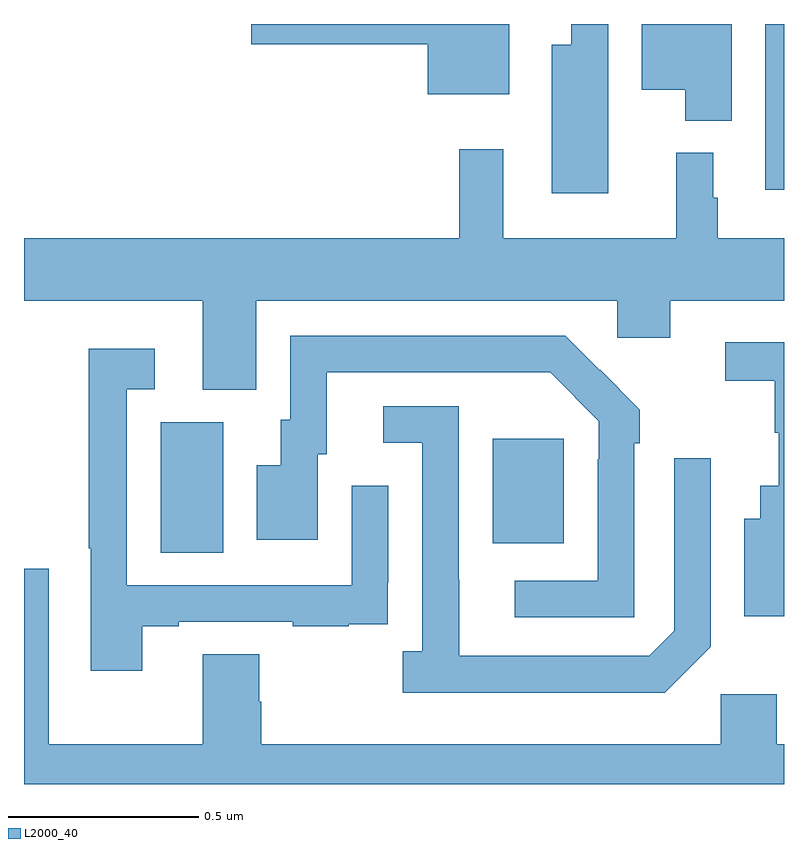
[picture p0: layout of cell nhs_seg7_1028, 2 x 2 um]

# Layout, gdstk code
import gdstk
lib = gdstk.Library(unit=1e-6, precision=1e-09)
def R(c, l, rs):  # rectangles x0, y0, x1, y1
    for r in rs: c.add(gdstk.rectangle(r[:2], r[2:], *l))
def P(c, l, *ps):  # polygons
    for p in ps: c.add(gdstk.Polygon(p, *l))
L2000_40 = (2000, 40)

nhs_seg7_1028 = lib.new_cell('nhs_seg7_1028')
R(nhs_seg7_1028, L2000_40, [(125.36,1010.608,125.524,1010.952), (126.233,1010.633,126.421,1010.908), (126.951,1011.564,127,1012)])
P(nhs_seg7_1028, L2000_40, [(126.277,1012),(125.598,1012),(125.598,1011.947),(126.062,1011.947),(126.062,1011.815),(126.277,1011.815)],
  [(126.862,1012),(126.626,1012),(126.626,1011.827),(126.74,1011.827),(126.74,1011.746),(126.862,1011.746)],
  [(126.538,1012),(126.44,1012),(126.44,1011.946),(126.389,1011.946),(126.389,1011.554),(126.538,1011.554)],
  [(125.611,1011.272),(126.561,1011.272),(126.561,1011.174),(126.7,1011.174),(126.7,1011.272),(127,1011.272),(127,1011.436),(126.826,1011.436),(126.826,1011.543),(126.814,1011.543),(126.814,1011.661),(126.716,1011.661),(126.716,1011.436),(126.261,1011.436),(126.261,1011.67),(126.145,1011.67),(126.145,1011.436),(125,1011.436),(125,1011.272),(125.471,1011.272),(125.471,1011.037),(125.611,1011.037)],
  [(126.606,1010.897),(126.621,1010.897),(126.621,1010.985),(126.516,1011.09),(126.515,1011.089),(126.424,1011.18),(125.7,1011.18),(125.7,1010.958),(125.675,1010.958),(125.675,1010.839),(125.612,1010.839),(125.612,1010.643),(125.773,1010.643),(125.773,1010.868),(125.797,1010.868),(125.797,1011.084),(126.385,1011.084),(126.513,1010.955),(126.513,1010.855),(126.51,1010.855),(126.51,1010.535),(126.291,1010.535),(126.291,1010.439),(126.606,1010.439)],
  [(127,1011.162),(126.846,1011.162),(126.846,1011.061),(126.975,1011.061),(126.975,1010.925),(126.986,1010.925),(126.986,1010.785),(126.938,1010.785),(126.938,1010.698),(126.896,1010.698),(126.896,1010.441),(127,1010.441)],
  [(125.311,1010.415),(125.407,1010.415),(125.407,1010.427),(125.707,1010.427),(125.707,1010.415),(125.855,1010.415),(125.855,1010.421),(125.957,1010.421),(125.957,1010.53),(125.958,1010.53),(125.958,1010.785),(125.862,1010.785),(125.862,1010.523),(125.271,1010.523),(125.271,1011.039),(125.344,1011.039),(125.344,1011.145),(125.17,1011.145),(125.17,1010.62),(125.175,1010.62),(125.175,1010.298),(125.311,1010.298)],
  [(126.807,1010.361),(126.807,1010.857),(126.711,1010.857),(126.711,1010.403),(126.645,1010.337),(126.145,1010.337),(126.145,1010.537),(126.144,1010.537),(126.144,1010.994),(125.946,1010.994),(125.946,1010.898),(126.048,1010.898),(126.048,1010.35),(125.997,1010.35),(125.997,1010.24),(126.686,1010.24)],
  [(127,1010.104),(126.981,1010.104),(126.981,1010.236),(126.834,1010.236),(126.834,1010.104),(125.624,1010.104),(125.624,1010.217),(125.619,1010.217),(125.619,1010.342),(125.471,1010.342),(125.471,1010.104),(125.065,1010.104),(125.065,1010.566),(125,1010.566),(125,1010),(127,1010)])

lib.write_gds('nhs_seg7_1028.gds')
